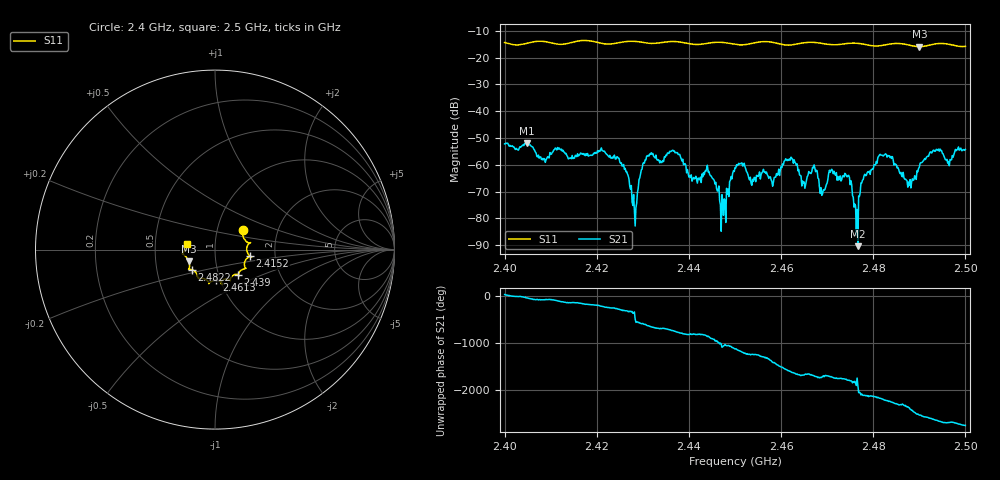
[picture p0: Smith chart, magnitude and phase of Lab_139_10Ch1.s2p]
# Hz S RI R 50
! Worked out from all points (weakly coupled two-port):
!   601 points, 2.4 GHz to 2.5 GHz, reference 50 ohm
!   highest |S21| = -51.86 dB at 2.4048 GHz (marker M1); lowest = -90.4 dB at 2.4767 GHz (marker M2)
!   lowest |S11| = -15.9 dB at 2.49 GHz (marker M3), VSWR 1.38, Z = 36.9 - j4.86 ohm
!   |S11| at or under -10 dB: start of sweep to end of sweep
!   S12 and S22 are empty: the file has one direction only
!   S11 on the Smith chart (normalised r, x): 2.4 GHz: 1.33, +0.31; 2.4152 GHz: 1.48, -0.11; 2.439 GHz: 1.24, -0.36; 2.4613 GHz: 0.96, -0.34; 2.4822 GHz: 0.76, -0.17; 2.5 GHz: 0.72, +0.05
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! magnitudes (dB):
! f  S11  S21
! 2.4 GHz  -14.4  -52.2
! 2.4048 GHz  -14.7  -51.9
! 2.4152 GHz  -14.1  -57.5
! 2.4167 GHz  -13.6  -55.8
! 2.4248 GHz  -14.4  -57.6
! 2.4282 GHz  -13.9  -76.8
! 2.4305 GHz  -14.5  -58.1
! 2.4333 GHz  -14.5  -58.1
! 2.439 GHz  -14.5  -59.7
! 2.4443 GHz  -14.6  -62.5
! 2.4475 GHz  -14.4  -78.9
! 2.45 GHz  -15.0  -61.0
! 2.4613 GHz  -15.3  -58.4
! 2.4667 GHz  -14.3  -62.6
! 2.469 GHz  -14.7  -70.8
! 2.4743 GHz  -14.7  -64.5
! 2.4767 GHz  -14.7  -90.4
! 2.4822 GHz  -15.4  -56.7
! 2.4833 GHz  -15.0  -56.7
! 2.4878 GHz  -15.4  -67.7
! 2.49 GHz  -15.9  -60.9
! 2.5 GHz  -15.8  -54.2
